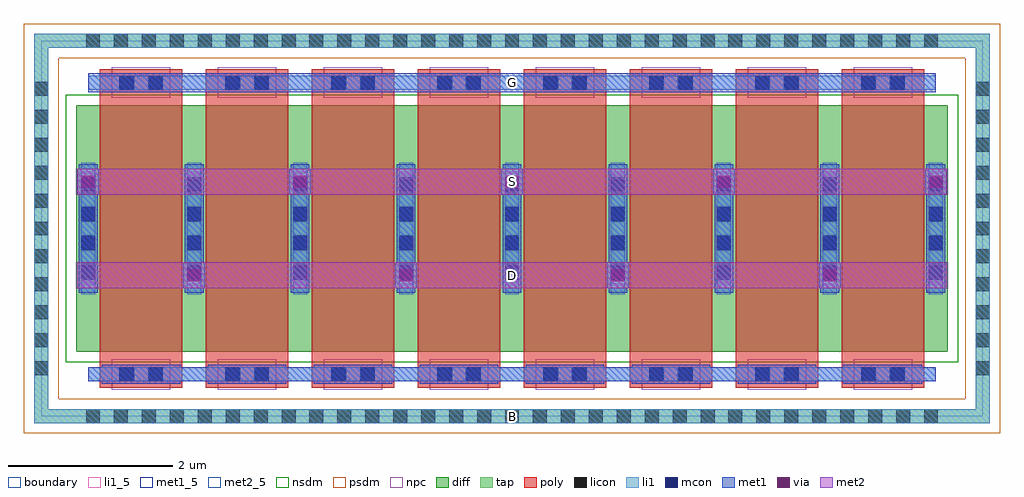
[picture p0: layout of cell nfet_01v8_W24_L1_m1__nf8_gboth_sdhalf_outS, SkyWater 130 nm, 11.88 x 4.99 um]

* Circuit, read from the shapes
.subckt nfet_01v8_W24_L1_m1__nf8_gboth_sdhalf_outS B D G S
XM1 D G S B sky130_fd_pr__nfet_01v8 w=3 l=1 m=8
.ends

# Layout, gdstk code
import gdstk
lib = gdstk.Library(unit=1e-6, precision=1e-09)
def R(c, l, rs):  # rectangles x0, y0, x1, y1
    for r in rs: c.add(gdstk.rectangle(r[:2], r[2:], *l))
def A(c, l, x, y, w, h, nx, ny, dx, dy):  # array of equal rectangles
    R(c, l, [(x+i*dx, y+j*dy, x+i*dx+w, y+j*dy+h) for i in range(nx) for j in range(ny)])
diff = (65, 20)
tap = (65, 44)
poly = (66, 20)
licon = (66, 44)
li1_5 = (67, 5)
li1 = (67, 20)
mcon = (67, 44)
met1_5 = (68, 5)
met1 = (68, 20)
via = (68, 44)
met2_5 = (69, 5)
met2 = (69, 20)
nsdm = (93, 44)
psdm = (94, 20)
npc = (95, 20)
boundary = (235, 4)

sky130_fd_pr__nfet_01v8_ = lib.new_cell('sky130_fd_pr__nfet_01v8_KGEMGE')
R(sky130_fd_pr__nfet_01v8_, diff, [(-5.305,-1.5,5.305,1.5)])
R(sky130_fd_pr__nfet_01v8_, tap, [(-5.815,-2.37,5.815,-2.2), (-5.815,-2.2,-5.645,2.2), (5.645,-2.2,5.815,2.2), (-5.815,2.2,5.815,2.37)])
A(sky130_fd_pr__nfet_01v8_, poly, -5.015, -1.94, 1, 3.88, 8, 1, 1.29, 0)
A(sky130_fd_pr__nfet_01v8_, licon, -5.185, -2.37, 0.17, 0.17, 31, 2, 0.34, 4.57)
A(sky130_fd_pr__nfet_01v8_, licon, -5.815, -1.785, 0.17, 0.17, 1, 11, 0, 0.34)
A(sky130_fd_pr__nfet_01v8_, licon, 5.645, -1.785, 0.17, 0.17, 1, 11, 0, 0.34)
A(sky130_fd_pr__nfet_01v8_, licon, -5.245, -0.595, 0.17, 0.17, 9, 4, 1.29, 0.34)
R(sky130_fd_pr__nfet_01v8_, licon, [(-4.77,-1.86,-4.6,-1.69), (-4.43,-1.86,-4.26,-1.69), (-3.48,-1.86,-3.31,-1.69), (-3.14,-1.86,-2.97,-1.69), (-2.19,-1.86,-2.02,-1.69), (-1.85,-1.86,-1.68,-1.69), (-0.9,-1.86,-0.73,-1.69), (-0.56,-1.86,-0.39,-1.69), (0.39,-1.86,0.56,-1.69), (0.73,-1.86,0.9,-1.69), (1.68,-1.86,1.85,-1.69), (2.02,-1.86,2.19,-1.69), (2.97,-1.86,3.14,-1.69), (3.31,-1.86,3.48,-1.69), (4.26,-1.86,4.43,-1.69), (4.6,-1.86,4.77,-1.69), (-4.77,1.69,-4.6,1.86), (-4.43,1.69,-4.26,1.86), (-3.48,1.69,-3.31,1.86), (-3.14,1.69,-2.97,1.86), (-2.19,1.69,-2.02,1.86), (-1.85,1.69,-1.68,1.86), (-0.9,1.69,-0.73,1.86), (-0.56,1.69,-0.39,1.86), (0.39,1.69,0.56,1.86), (0.73,1.69,0.9,1.86), (1.68,1.69,1.85,1.86), (2.02,1.69,2.19,1.86), (2.97,1.69,3.14,1.86), (3.31,1.69,3.48,1.86), (4.26,1.69,4.43,1.86), (4.6,1.69,4.77,1.86)])
A(sky130_fd_pr__nfet_01v8_, li1, -5.245, -0.8, 0.17, 1.6, 9, 1, 1.29, 0)
R(sky130_fd_pr__nfet_01v8_, li1, [(-5.815,-2.37,5.815,-2.2), (-5.815,-2.2,-5.645,2.2), (5.645,-2.2,5.815,2.2), (-5.16,-1.86,5.16,-1.69), (-5.16,1.69,5.16,1.86), (-5.815,2.2,5.815,2.37)])
A(sky130_fd_pr__nfet_01v8_, mcon, -5.245, -0.625, 0.17, 0.17, 9, 4, 1.29, 0.36)
R(sky130_fd_pr__nfet_01v8_, mcon, [(-4.78,-1.86,-4.61,-1.69), (-4.42,-1.86,-4.25,-1.69), (-3.49,-1.86,-3.32,-1.69), (-3.13,-1.86,-2.96,-1.69), (-2.2,-1.86,-2.03,-1.69), (-1.84,-1.86,-1.67,-1.69), (-0.91,-1.86,-0.74,-1.69), (-0.55,-1.86,-0.38,-1.69), (0.38,-1.86,0.55,-1.69), (0.74,-1.86,0.91,-1.69), (1.67,-1.86,1.84,-1.69), (2.03,-1.86,2.2,-1.69), (2.96,-1.86,3.13,-1.69), (3.32,-1.86,3.49,-1.69), (4.25,-1.86,4.42,-1.69), (4.61,-1.86,4.78,-1.69), (-4.78,1.69,-4.61,1.86), (-4.42,1.69,-4.25,1.86), (-3.49,1.69,-3.32,1.86), (-3.13,1.69,-2.96,1.86), (-2.2,1.69,-2.03,1.86), (-1.84,1.69,-1.67,1.86), (-0.91,1.69,-0.74,1.86), (-0.55,1.69,-0.38,1.86), (0.38,1.69,0.55,1.86), (0.74,1.69,0.91,1.86), (1.67,1.69,1.84,1.86), (2.03,1.69,2.2,1.86), (2.96,1.69,3.13,1.86), (3.32,1.69,3.49,1.86), (4.25,1.69,4.42,1.86), (4.61,1.69,4.78,1.86)])
A(sky130_fd_pr__nfet_01v8_, met1, -4.995, -1.89, 0.96, 0.03, 8, 2, 1.29, 0.2)
A(sky130_fd_pr__nfet_01v8_, met1, -5.275, -0.78, 0.23, 1.56, 9, 1, 1.29, 0)
A(sky130_fd_pr__nfet_01v8_, met1, -4.995, 1.66, 0.96, 0.03, 8, 2, 1.29, 0.2)
R(sky130_fd_pr__nfet_01v8_, met1, [(-5.16,-1.86,5.16,-1.69), (-5.16,1.69,5.16,1.86)])
R(sky130_fd_pr__nfet_01v8_, nsdm, [(-5.43,-1.625,5.43,1.625)])
R(sky130_fd_pr__nfet_01v8_, psdm, [(-5.94,-2.495,5.94,-2.075), (-5.94,-2.075,-5.52,2.075), (5.52,-2.075,5.94,2.075), (-5.94,2.075,5.94,2.495)])
A(sky130_fd_pr__nfet_01v8_, npc, -4.87, -1.96, 0.71, 0.37, 8, 2, 1.29, 3.55)
R(sky130_fd_pr__nfet_01v8_, boundary, [(-5.73,-2.285,5.73,2.285)])
sky130_fd_pr__nfet_01v8_.add(gdstk.Label('B', (0,-2.285), layer=67, texttype=5))
sky130_fd_pr__nfet_01v8_.add(gdstk.Label('D0', (-5.16,0), layer=67, texttype=5))
sky130_fd_pr__nfet_01v8_.add(gdstk.Label('G', (4.515,1.775), layer=67, texttype=5))
sky130_fd_pr__nfet_01v8_.add(gdstk.Label('G', (3.225,1.775), layer=67, texttype=5))
sky130_fd_pr__nfet_01v8_.add(gdstk.Label('G', (1.935,1.775), layer=67, texttype=5))
sky130_fd_pr__nfet_01v8_.add(gdstk.Label('G', (0.645,1.775), layer=67, texttype=5))
sky130_fd_pr__nfet_01v8_.add(gdstk.Label('G', (-0.645,1.775), layer=67, texttype=5))
sky130_fd_pr__nfet_01v8_.add(gdstk.Label('G', (-1.935,1.775), layer=67, texttype=5))
sky130_fd_pr__nfet_01v8_.add(gdstk.Label('G', (-3.225,1.775), layer=67, texttype=5))
sky130_fd_pr__nfet_01v8_.add(gdstk.Label('G', (-4.515,1.775), layer=67, texttype=5))
sky130_fd_pr__nfet_01v8_.add(gdstk.Label('S1', (-3.87,0), layer=67, texttype=5))
sky130_fd_pr__nfet_01v8_.add(gdstk.Label('D2', (-2.58,0), layer=67, texttype=5))
sky130_fd_pr__nfet_01v8_.add(gdstk.Label('S3', (-1.29,0), layer=67, texttype=5))
sky130_fd_pr__nfet_01v8_.add(gdstk.Label('D4', (0,0), layer=67, texttype=5))
sky130_fd_pr__nfet_01v8_.add(gdstk.Label('S5', (1.29,0), layer=67, texttype=5))
sky130_fd_pr__nfet_01v8_.add(gdstk.Label('D6', (2.58,0), layer=67, texttype=5))
sky130_fd_pr__nfet_01v8_.add(gdstk.Label('S7', (3.87,0), layer=67, texttype=5))

nfet_01v8_w24_l1_m1__nf8 = lib.new_cell('nfet_01v8_W24_L1_m1__nf8_gboth_sdhalf_outS')
R(nfet_01v8_w24_l1_m1__nf8, li1_5, [(5.645,-0.085,5.815,0.085)])
R(nfet_01v8_w24_l1_m1__nf8, li1, [(5.645,-0.085,5.815,0.085)])
R(nfet_01v8_w24_l1_m1__nf8, met1_5, [(0.57,3.945,10.89,4.175)])
A(nfet_01v8_w24_l1_m1__nf8, met1, 1.73, 1.555, 0.26, 0.32, 4, 1, 2.58, 0)
A(nfet_01v8_w24_l1_m1__nf8, met1, 0.44, 2.695, 0.26, 0.32, 5, 1, 2.58, 0)
R(nfet_01v8_w24_l1_m1__nf8, met1, [(0.57,3.945,10.89,4.175)])
A(nfet_01v8_w24_l1_m1__nf8, via, 1.785, 1.64, 0.15, 0.15, 4, 1, 2.58, 0)
A(nfet_01v8_w24_l1_m1__nf8, via, 0.495, 2.78, 0.15, 0.15, 5, 1, 2.58, 0)
R(nfet_01v8_w24_l1_m1__nf8, met2_5, [(0.435,1.555,11.025,1.875), (0.435,2.695,11.025,3.015)])
R(nfet_01v8_w24_l1_m1__nf8, met2, [(0.435,1.555,11.025,1.875), (0.435,2.695,11.025,3.015)])
nfet_01v8_w24_l1_m1__nf8.add(gdstk.Reference(sky130_fd_pr__nfet_01v8_, (5.73,2.285)))
nfet_01v8_w24_l1_m1__nf8.add(gdstk.Label('S', (5.73,2.855), layer=69, texttype=5))
nfet_01v8_w24_l1_m1__nf8.add(gdstk.Label('D', (5.73,1.715), layer=69, texttype=5))
nfet_01v8_w24_l1_m1__nf8.add(gdstk.Label('G', (5.73,4.06), layer=68, texttype=5))
nfet_01v8_w24_l1_m1__nf8.add(gdstk.Label('B', (5.73,0), layer=67, texttype=5))

lib.write_gds('nfet_01v8_W24_L1_m1__nf8_gboth_sdhalf_outS.gds')
